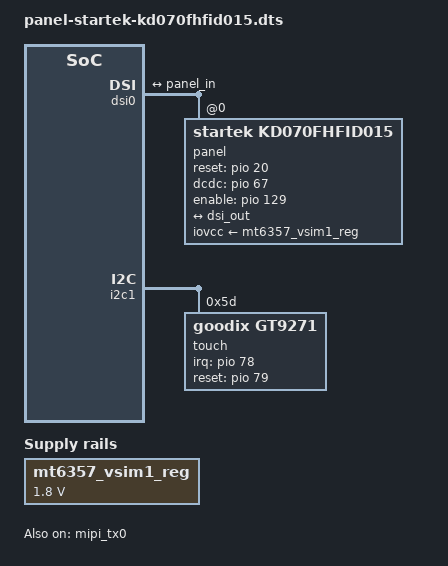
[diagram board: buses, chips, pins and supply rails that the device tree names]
#include <dt-bindings/gpio/gpio.h>
#include <dt-bindings/pinctrl/mt8365-pinfunc.h>
#include "dt-bindings/interrupt-controller/irq.h"

/dts-v1/;
/plugin/;

/ {
	fragment@0 {
		target = <&dsi0>;
		__overlay__ {
			status = "okay";
			#address-cells = <1>;
			#size-cells = <0>;
			poweron-in-hs-mode = <0>;

			panel@0 {
				compatible = "startek,kd070fhfid015";
				status = "okay";
				reg = <0>;
				pinctrl-names = "default";
				pinctrl-0 = <&panel_pins_default>;
				reset-gpios = <&pio 20 GPIO_ACTIVE_HIGH>;
				dcdc-gpios = <&pio 67 GPIO_ACTIVE_HIGH>;
				enable-gpios = <&pio 129 GPIO_ACTIVE_HIGH>;
				iovcc-supply = <&mt6357_vsim1_reg>;

				port {
					panel_in: endpoint {
						remote-endpoint = <&dsi_out>;
					};
				};
			};

			ports {
				port {
					dsi_out: endpoint {
						remote-endpoint = <&panel_in>;
					};
				};
			};
		};
	};

	fragment@1 {
		target = <&i2c1>;
		__overlay__ {
			clock-div = <2>;
			status = "okay";

			touch: gt911@5d {
				compatible = "goodix,gt9271";
				reg = <0x5d>;
				pinctrl-names = "default";
				pinctrl-0 = <&ts_pins>;
				interrupt-parent = <&pio>;
				interrupts = <78 IRQ_TYPE_EDGE_FALLING>;
				irq-gpios = <&pio 78 GPIO_ACTIVE_HIGH>;
				reset-gpios = <&pio 79 GPIO_ACTIVE_HIGH>;
			};
		};
	};

	fragment@2 {
		target = <&mipi_tx0>;
		__overlay__ {
			status = "okay";
		};
	};

	fragment@3 {
		target = <&pio>;
		__overlay__ {
			ts_pins: ts_pins {
				pins_ctp_int1 {
					pinmux = <MT8365_PIN_78_CMHSYNC__FUNC_GPIO78>;
					input-enable;
					bias-disable;
				};

				ts_rst {
					pinmux = <MT8365_PIN_78_CMHSYNC__FUNC_GPIO78>;
					output-low;
				};
			};

			panel_pins_default: panel_pins_default {
				panel_dcdc {
					pinmux = <MT8365_PIN_67_CMPCLK__FUNC_GPIO67>;
					output-low;
				};

				panel_en {
					pinmux = <MT8365_PIN_129_TDM_TX_BCK__FUNC_GPIO129>;
					output-low;
				};

				panel_rst {
					pinmux = <MT8365_PIN_20_LCM_RST__FUNC_GPIO20>;
					output-high;
				};
			};
		};
	};

	fragment@4 {
		target = <&mt6357_vsim1_reg>;
		__overlay__ {
			regulator-min-microvolt = <1800000>;
			regulator-max-microvolt = <1800000>;
		};
	};
};
